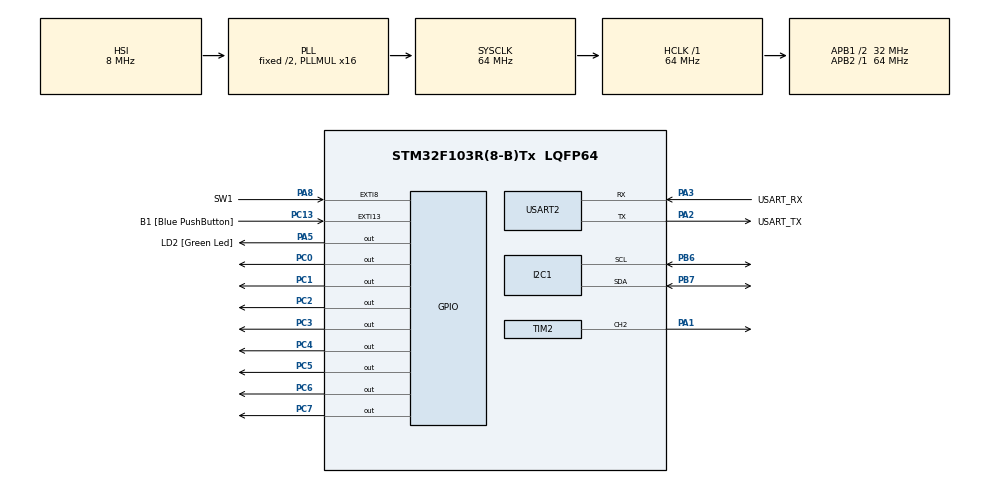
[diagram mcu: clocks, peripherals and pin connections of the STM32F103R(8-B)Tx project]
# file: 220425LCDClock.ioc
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Mcu.Family=STM32F1
Mcu.Name=STM32F103R(8-B)Tx
Mcu.Package=LQFP64
NVIC.EXTI15_10_IRQn=true\:0\:0\:false\:false\:true\:true\:true\:true
NVIC.EXTI9_5_IRQn=true\:0\:0\:false\:false\:true\:true\:true\:true
NVIC.PriorityGroup=NVIC_PRIORITYGROUP_4
NVIC.TIM2_IRQn=true\:0\:0\:false\:false\:true\:true\:true\:true
PA1.Signal=S_TIM2_CH2
PA13.GPIO_Label=TMS
PA13.Mode=Serial_Wire
PA13.Signal=SYS_JTMS-SWDIO
PA14.GPIO_Label=TCK
PA14.Mode=Serial_Wire
PA14.Signal=SYS_JTCK-SWCLK
PA2.GPIO_Label=USART_TX
PA2.GPIO_Mode=GPIO_MODE_AF_PP
PA2.GPIO_PuPd=GPIO_NOPULL
PA2.GPIO_Speed=GPIO_SPEED_FREQ_LOW
PA2.Mode=Asynchronous
PA2.Signal=USART2_TX
PA3.GPIO_Label=USART_RX
PA3.GPIO_Mode=GPIO_MODE_AF_PP
PA3.GPIO_PuPd=GPIO_NOPULL
PA3.GPIO_Speed=GPIO_SPEED_FREQ_LOW
PA3.Mode=Asynchronous
PA3.Signal=USART2_RX
PA5.GPIO_Label=LD2 [Green Led]
PA5.GPIO_ModeDefaultOutputPP=GPIO_MODE_OUTPUT_PP
PA5.GPIO_PuPd=GPIO_NOPULL
PA5.GPIO_Speed=GPIO_SPEED_FREQ_LOW
PA5.Signal=GPIO_Output
PA8.GPIO_Label=SW1
PA8.Signal=GPXTI8
PB3.GPIO_Label=SWO
PB3.Signal=SYS_JTDO-TRACESWO
PB6.Mode=I2C
PB6.Signal=I2C1_SCL
PB7.Mode=I2C
PB7.Signal=I2C1_SDA
PC0.Signal=GPIO_Output
PC1.Signal=GPIO_Output
PC13-TAMPER-RTC.GPIO_Label=B1 [Blue PushButton]
PC13-TAMPER-RTC.GPIO_PuPd=GPIO_NOPULL
PC13-TAMPER-RTC.Signal=GPXTI13
PC14-OSC32_IN.Mode=LSE-External-Oscillator
PC14-OSC32_IN.Signal=RCC_OSC32_IN
PC15-OSC32_OUT.Mode=LSE-External-Oscillator
PC15-OSC32_OUT.Signal=RCC_OSC32_OUT
PC2.Signal=GPIO_Output
PC3.Signal=GPIO_Output
PC4.Signal=GPIO_Output
PC5.Signal=GPIO_Output
PC6.Signal=GPIO_Output
PC7.Signal=GPIO_Output
PD0-OSC_IN.Mode=HSE-External-Clock-Source
PD0-OSC_IN.Signal=RCC_OSC_IN
PD1-OSC_OUT.Mode=HSE-External-Clock-Source
PD1-OSC_OUT.Signal=RCC_OSC_OUT
ProjectManager.HeapSize=0x200
ProjectManager.StackSize=0x400
ProjectManager.TargetToolchain=STM32CubeIDE
RCC.AHBFreq_Value=64000000
RCC.APB1CLKDivider=RCC_HCLK_DIV2
RCC.APB1Freq_Value=32000000
RCC.APB1TimFreq_Value=64000000
RCC.APB2Freq_Value=64000000
RCC.APB2TimFreq_Value=64000000
RCC.HCLKFreq_Value=64000000
RCC.PLLMUL=RCC_PLL_MUL16
RCC.RTCClockSelection=RCC_RTCCLKSOURCE_LSE
RCC.SYSCLKFreq_VALUE=64000000
RCC.SYSCLKSource=RCC_SYSCLKSOURCE_PLLCLK
RCC.USBFreq_Value=64000000
SH.S_TIM2_CH2.0=TIM2_CH2,PWM Generation2 CH2
TIM2.Channel-PWM\ Generation2\ CH2=TIM_CHANNEL_2
TIM2.Period=10000-1
TIM2.Prescaler=6400-1
TIM2.Pulse-PWM\ Generation2\ CH2=5000-1
USART2.VirtualMode=VM_ASYNC
VP_TIM2_VS_ClockSourceINT.Mode=Internal
board=NUCLEO-F103RB

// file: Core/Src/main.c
/* USER CODE BEGIN Header */
/**
  ******************************************************************************
  * @file           : main.c
  * @brief          : Main program body
  ******************************************************************************
  * @attention
  *
  * Copyright (c) 2022 STMicroelectronics.
  * All rights reserved.
  *
  * This software is licensed under terms that can be found in the LICENSE file
  * in the root directory of this software component.
  * If no LICENSE file comes with this software, it is provided AS-IS.
  *
  ******************************************************************************
  */
/* USER CODE END Header */
#include "main.h"
#include "stdio.h"
/* USER CODE BEGIN Includes */
#include "i2c-lcd.h"
/* USER CODE END Includes */

 I2C_HandleTypeDef hi2c1;

TIM_HandleTypeDef htim2;

UART_HandleTypeDef huart2;

void SystemClock_Config(void);
static void MX_GPIO_Init(void);
static void MX_USART2_UART_Init(void);
static void MX_TIM2_Init(void);
static void MX_I2C1_Init(void);
/* USER CODE BEGIN PFP */
int hour = 0;
int min = 0;
int sec = 0;
char SEC[10];
char MIN[10];
char HOUR[10];
/* USER CODE END PFP */

int main(void)
{

  /* MCU Configuration--------------------------------------------------------*/

  /* Reset of all peripherals, Initializes the Flash interface and the Systick. */
  HAL_Init();

  /* Configure the system clock */
  SystemClock_Config();

  /* Initialize all configured peripherals */
  MX_GPIO_Init();
  MX_USART2_UART_Init();
  MX_TIM2_Init();
  MX_I2C1_Init();
  /* USER CODE BEGIN 2 */
  HAL_TIM_Base_Start_IT(&htim2);
  lcd_init();
//  lcd_send_string("Master!");
//  lcd_put_cur(1, 0);
//  lcd_send_string("Slave!");
      /* USER CODE BEGIN 3 */
  /* USER CODE END 2 */

  /* Infinite loop */
  while (1)
  {

    /* USER CODE BEGIN 3 */
  /* USER CODE END 2 */

  /* Infinite loop */
  /* USER CODE BEGIN WHILE */
  while (1)
  {
    /* USER CODE END WHILE */

    /* USER CODE BEGIN 3 */
  /* USER CODE END 2 */

  /* Infinite loop */
  /* USER CODE BEGIN WHILE */
  while (1)
  {
    /* USER CODE END WHILE */

    /* USER CODE BEGIN 3 */
  }
  /* USER CODE END 3 */
}

void SystemClock_Config(void)
{
  RCC_OscInitTypeDef RCC_OscInitStruct = {0};
  RCC_ClkInitTypeDef RCC_ClkInitStruct = {0};

  /** Initializes the RCC Oscillators according to the specified parameters
  * in the RCC_OscInitTypeDef structure.
  */
  RCC_OscInitStruct.OscillatorType = RCC_OSCILLATORTYPE_HSI;
  RCC_OscInitStruct.HSIState = RCC_HSI_ON;
  RCC_OscInitStruct.HSICalibrationValue = RCC_HSICALIBRATION_DEFAULT;
  RCC_OscInitStruct.PLL.PLLState = RCC_PLL_ON;
  RCC_OscInitStruct.PLL.PLLSource = RCC_PLLSOURCE_HSI_DIV2;
  RCC_OscInitStruct.PLL.PLLMUL = RCC_PLL_MUL16;
  if (HAL_RCC_OscConfig(&RCC_OscInitStruct) != HAL_OK)
  {
    Error_Handler();
  }

  /** Initializes the CPU, AHB and APB buses clocks
  */
  RCC_ClkInitStruct.ClockType = RCC_CLOCKTYPE_HCLK|RCC_CLOCKTYPE_SYSCLK
                              |RCC_CLOCKTYPE_PCLK1|RCC_CLOCKTYPE_PCLK2;
  RCC_ClkInitStruct.SYSCLKSource = RCC_SYSCLKSOURCE_PLLCLK;
  RCC_ClkInitStruct.AHBCLKDivider = RCC_SYSCLK_DIV1;
  RCC_ClkInitStruct.APB1CLKDivider = RCC_HCLK_DIV2;
  RCC_ClkInitStruct.APB2CLKDivider = RCC_HCLK_DIV1;

  if (HAL_RCC_ClockConfig(&RCC_ClkInitStruct, FLASH_LATENCY_2) != HAL_OK)
  {
    Error_Handler();
  }
}

static void MX_I2C1_Init(void)
{

  hi2c1.Instance = I2C1;
  hi2c1.Init.ClockSpeed = 100000;
  hi2c1.Init.DutyCycle = I2C_DUTYCYCLE_2;
  hi2c1.Init.OwnAddress1 = 0;
  hi2c1.Init.AddressingMode = I2C_ADDRESSINGMODE_7BIT;
  hi2c1.Init.DualAddressMode = I2C_DUALADDRESS_DISABLE;
  hi2c1.Init.OwnAddress2 = 0;
  hi2c1.Init.GeneralCallMode = I2C_GENERALCALL_DISABLE;
  hi2c1.Init.NoStretchMode = I2C_NOSTRETCH_DISABLE;
  if (HAL_I2C_Init(&hi2c1) != HAL_OK)
  {
    Error_Handler();
  }

}

static void MX_TIM2_Init(void)
{

  TIM_ClockConfigTypeDef sClockSourceConfig = {0};
  TIM_MasterConfigTypeDef sMasterConfig = {0};
  TIM_OC_InitTypeDef sConfigOC = {0};

  htim2.Instance = TIM2;
  htim2.Init.Prescaler = 6400-1;
  htim2.Init.CounterMode = TIM_COUNTERMODE_UP;
  htim2.Init.Period = 10000-1;
  htim2.Init.ClockDivision = TIM_CLOCKDIVISION_DIV1;
  htim2.Init.AutoReloadPreload = TIM_AUTORELOAD_PRELOAD_DISABLE;
  if (HAL_TIM_Base_Init(&htim2) != HAL_OK)
  {
    Error_Handler();
  }
  sClockSourceConfig.ClockSource = TIM_CLOCKSOURCE_INTERNAL;
  if (HAL_TIM_ConfigClockSource(&htim2, &sClockSourceConfig) != HAL_OK)
  {
    Error_Handler();
  }
  if (HAL_TIM_PWM_Init(&htim2) != HAL_OK)
  {
    Error_Handler();
  }
  sMasterConfig.MasterOutputTrigger = TIM_TRGO_RESET;
  sMasterConfig.MasterSlaveMode = TIM_MASTERSLAVEMODE_DISABLE;
  if (HAL_TIMEx_MasterConfigSynchronization(&htim2, &sMasterConfig) != HAL_OK)
  {
    Error_Handler();
  }
  sConfigOC.OCMode = TIM_OCMODE_PWM1;
  sConfigOC.Pulse = 5000-1;
  sConfigOC.OCPolarity = TIM_OCPOLARITY_HIGH;
  sConfigOC.OCFastMode = TIM_OCFAST_DISABLE;
  if (HAL_TIM_PWM_ConfigChannel(&htim2, &sConfigOC, TIM_CHANNEL_2) != HAL_OK)
  {
    Error_Handler();
  }
  HAL_TIM_MspPostInit(&htim2);

}

static void MX_USART2_UART_Init(void)
{

  huart2.Instance = USART2;
  huart2.Init.BaudRate = 115200;
  huart2.Init.WordLength = UART_WORDLENGTH_8B;
  huart2.Init.StopBits = UART_STOPBITS_1;
  huart2.Init.Parity = UART_PARITY_NONE;
  huart2.Init.Mode = UART_MODE_TX_RX;
  huart2.Init.HwFlowCtl = UART_HWCONTROL_NONE;
  huart2.Init.OverSampling = UART_OVERSAMPLING_16;
  if (HAL_UART_Init(&huart2) != HAL_OK)
  {
    Error_Handler();
  }

}

static void MX_GPIO_Init(void)
{
  GPIO_InitTypeDef GPIO_InitStruct = {0};

  /* GPIO Ports Clock Enable */
  __HAL_RCC_GPIOC_CLK_ENABLE();
  __HAL_RCC_GPIOD_CLK_ENABLE();
  __HAL_RCC_GPIOA_CLK_ENABLE();
  __HAL_RCC_GPIOB_CLK_ENABLE();

  /*Configure GPIO pin Output Level */
  HAL_GPIO_WritePin(GPIOC, GPIO_PIN_0|GPIO_PIN_1|GPIO_PIN_2|GPIO_PIN_3
                          |GPIO_PIN_4|GPIO_PIN_5|GPIO_PIN_6|GPIO_PIN_7, GPIO_PIN_RESET);

  /*Configure GPIO pin Output Level */
  HAL_GPIO_WritePin(LD2_GPIO_Port, LD2_Pin, GPIO_PIN_RESET);

  /*Configure GPIO pin : B1_Pin */
  GPIO_InitStruct.Pin = B1_Pin;
  GPIO_InitStruct.Mode = GPIO_MODE_IT_RISING;
  GPIO_InitStruct.Pull = GPIO_NOPULL;
  HAL_GPIO_Init(B1_GPIO_Port, &GPIO_InitStruct);

  /*Configure GPIO pins : PC0 PC1 PC2 PC3
                           PC4 PC5 PC6 PC7 */
  GPIO_InitStruct.Pin = GPIO_PIN_0|GPIO_PIN_1|GPIO_PIN_2|GPIO_PIN_3
                          |GPIO_PIN_4|GPIO_PIN_5|GPIO_PIN_6|GPIO_PIN_7;
  GPIO_InitStruct.Mode = GPIO_MODE_OUTPUT_PP;
  GPIO_InitStruct.Pull = GPIO_NOPULL;
  GPIO_InitStruct.Speed = GPIO_SPEED_FREQ_LOW;
  HAL_GPIO_Init(GPIOC, &GPIO_InitStruct);

  /*Configure GPIO pin : LD2_Pin */
  GPIO_InitStruct.Pin = LD2_Pin;
  GPIO_InitStruct.Mode = GPIO_MODE_OUTPUT_PP;
  GPIO_InitStruct.Pull = GPIO_NOPULL;
  GPIO_InitStruct.Speed = GPIO_SPEED_FREQ_LOW;
  HAL_GPIO_Init(LD2_GPIO_Port, &GPIO_InitStruct);

  /*Configure GPIO pin : SW1_Pin */
  GPIO_InitStruct.Pin = SW1_Pin;
  GPIO_InitStruct.Mode = GPIO_MODE_IT_RISING;
  GPIO_InitStruct.Pull = GPIO_NOPULL;
  HAL_GPIO_Init(SW1_GPIO_Port, &GPIO_InitStruct);

  /* EXTI interrupt init*/
  HAL_NVIC_SetPriority(EXTI9_5_IRQn, 0, 0);
  HAL_NVIC_EnableIRQ(EXTI9_5_IRQn);

  HAL_NVIC_SetPriority(EXTI15_10_IRQn, 0, 0);
  HAL_NVIC_EnableIRQ(EXTI15_10_IRQn);

}

/* USER CODE BEGIN 4 */
void HAL_TIM_PeriodElapsedCallback(TIM_HandleTypeDef *htim)
{
	sec++;
	if(sec > 59)
	{
		sec = 0;
		lcd_clear();
		min++;
		if(min > 59)
		{
			min = 0;
			lcd_clear();
			hour++;
		}
	}
	lcd_put_cur(0, 0);
	sprintf(HOUR, "hour:%d", hour);
	lcd_send_string(HOUR);
	lcd_put_cur(1, 0);
	sprintf(MIN, "min:%d", min);
	lcd_send_string(MIN);
	lcd_put_cur(1, 7);
	sprintf(SEC, "sec:%d", sec);
	lcd_send_string(SEC);

}

//void HAL_GPIO_EXTI_Callback(uint16_t GPIO_PIN)
//{
//	if(GPIO_PIN == SW1_Pin)
//	{
//		lcd_clear();
//	}
//}
/* USER CODE END 4 */

void Error_Handler(void)
{
  __disable_irq();
  while (1)
  {
  }
}
